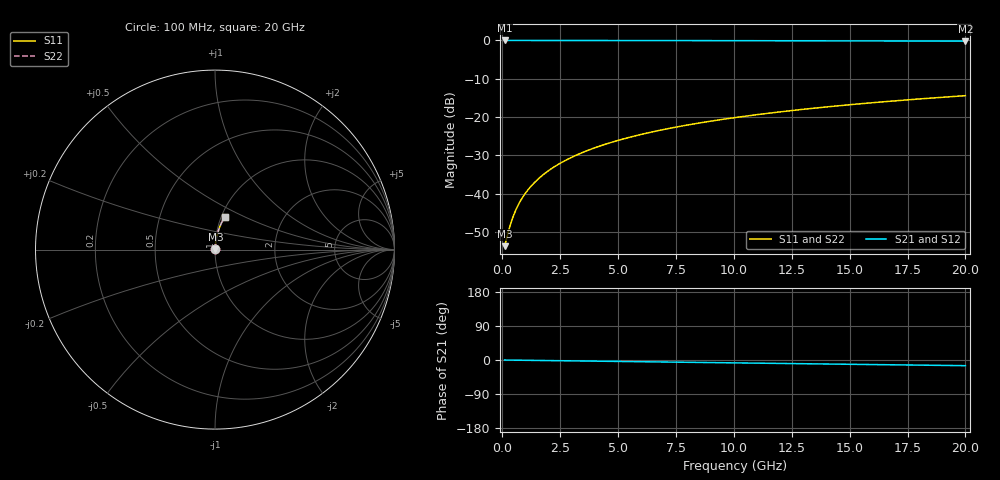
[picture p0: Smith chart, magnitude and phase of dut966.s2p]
! Touchstone file exported from HFSS 2026.1.0
!  File:  C:/ffzhzh/LocalFiles/Ansys_Project_Files/temp_train_TSV_966_1783187638_43440.aedt
!  Generated:  01:57:12 AM Jul  5, 2026
!  Design:  TSV
!  Project:  temp_train_TSV_966_1783187638_43440
! Variables:
!  h_bsmrdl = 2um
!  h_ox = 20um
!  h_rdl = 5um
!  h_sub = 97.32um
!  h_tmrdl = 5um
!  h_tsv = 97.32um
!  h_via = 3um
!  l_bsmrdl = 300um
!  l_sub = 404.98um
!  l_tmrdl = 200um
!  m_sub = 200um
!  pitch = 58.88um
!  r_tsv = 2.49um
!  s_tmrdl = 10um
!  w_bsmrdl = 18um
!  w_sub = 500um
!  w_tmrdl = 12um
!  x_tsv_center1 = 206um
!  x_tsv_center2 = 524um
!  x_tsv_center3 = 736um
!  x_tsv_center4 = 1054um
!  x_tsv_center5 = 1266um
!  x_tsv_center6 = 1584um
# GHz S MA R 50.000000
! Terminal data exported
! Port[1] = TSV1_1_T1
! Port[2] = TSV1_1_T2
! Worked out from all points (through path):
!   200 points, 100 MHz to 20 GHz, reference 50 ohm
!   highest |S21| = -0.02 dB at 100 MHz (marker M1); lowest = -0.2 dB at 20 GHz (marker M2)
!   group delay of S21, straight-line fit = 2.08 ps
!   lowest |S11| = -53.7 dB at 100 MHz (marker M3), VSWR 1.00, Z = 50.2 + j0.1 ohm
!   |S11| at or under -10 dB: start of sweep to end of sweep
!   |S22| runs from -53.7 to -14.4 dB; largest |S21 - S12| = 6e-15
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0.1  0.002059 29.0  0.9982 -0.1  0.9982 -0.1  0.002059 29.0
! Gamma 0 0 0 0
! Port Impedance 50 0 50 0
0.3  0.003503 58.7  0.9982 -0.2  0.9982 -0.2  0.003503 58.7
0.4  0.004389 65.3  0.9982 -0.3  0.9982 -0.3  0.004389 65.3
0.5  0.005313 69.6  0.9982 -0.4  0.9982 -0.4  0.005313 69.6
0.6  0.006257 72.5  0.9982 -0.5  0.9982 -0.5  0.006257 72.5
0.7  0.007214 74.7  0.9981 -0.5  0.9981 -0.5  0.007214 74.7
0.9  0.009149 77.7  0.9981 -0.7  0.9981 -0.7  0.009149 77.7
1.2  0.01208 80.2  0.9981 -0.9  0.9981 -0.9  0.01208 80.2
1.4  0.01404 81.2  0.998 -1.1  0.998 -1.1  0.01404 81.2
1.7  0.017 82.3  0.998 -1.3  0.998 -1.3  0.017 82.3
2.2  0.02193 83.3  0.9978 -1.7  0.9978 -1.7  0.02193 83.3
2.8  0.02785 83.8  0.9976 -2.2  0.9976 -2.2  0.02785 83.8
3.5  0.03475 83.9  0.9973 -2.7  0.9973 -2.7  0.03475 83.9
4.2  0.04163 83.8  0.997 -3.2  0.997 -3.2  0.04163 83.8
5  0.04948 83.5  0.9965 -3.8  0.9965 -3.8  0.04948 83.5
5.9  0.05827 83.1  0.9959 -4.5  0.9959 -4.5  0.05827 83.1
6.8  0.06702 82.6  0.9952 -5.2  0.9952 -5.2  0.06702 82.6
8.3  0.08151 81.7  0.9938 -6.3  0.9938 -6.3  0.08151 81.7
10.1  0.09873 80.5  0.992 -7.7  0.992 -7.7  0.09873 80.5
13.4  0.1298 78.2  0.9878 -10.1  0.9878 -10.1  0.1298 78.2
16.7  0.1602 75.9  0.9829 -12.6  0.9829 -12.6  0.1602 75.9
20  0.1898 73.6  0.9772 -15.0  0.9772 -15.0  0.1898 73.6
